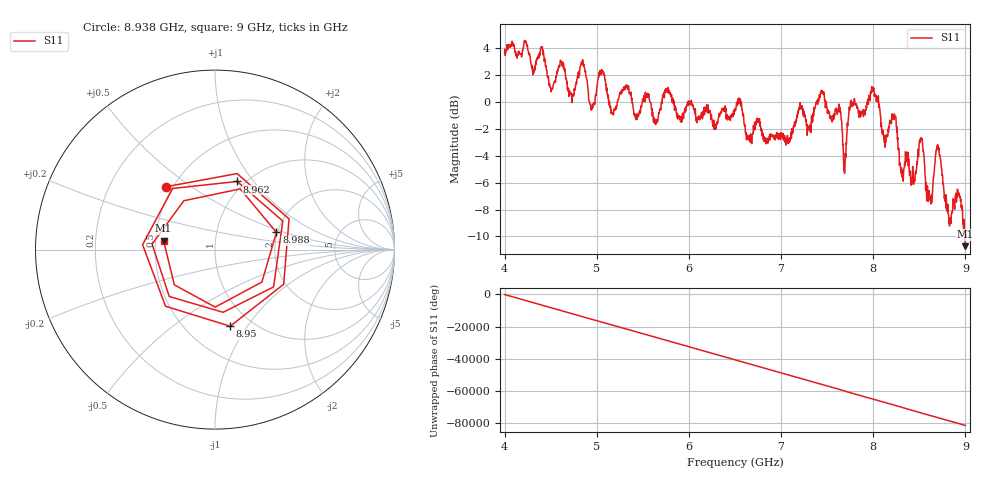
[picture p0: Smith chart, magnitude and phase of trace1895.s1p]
! Created with skrf 1.8.0 (http://scikit-rf.org).
# Hz S RI R 50.0
!freq ReS11 ImS11
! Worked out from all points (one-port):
!   1601 points, 4 GHz to 9 GHz, reference 50 ohm
!   lowest |S11| = -10.7 dB at 9 GHz (marker M1), VSWR 1.82, Z = 27.6 + j3.03 ohm
!   |S11| at or under -10 dB: 8.994592 GHz to end of sweep
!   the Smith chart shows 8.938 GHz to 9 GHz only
!   S11 on the Smith chart (normalised r, x): 8.938 GHz: 0.46, +0.40; 8.95 GHz: 0.79, -0.84; 8.962 GHz: 0.92, +0.83; 8.988 GHz: 1.98, +0.44; 9 GHz: 0.55, +0.06
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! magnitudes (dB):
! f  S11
! 4 GHz  3.7
! 4.403 GHz  4.0
! 4.506 GHz  0.9
! 4.625 GHz  2.9
! 4.722 GHz  0.5
! 4.844 GHz  3.0
! 4.938 GHz  -0.6
! 5.047 GHz  2.1
! 5.159 GHz  -0.7
! 5.25 GHz  0.7
! 5.875 GHz  -0.8
! 6.5 GHz  -0.5
! 7.125 GHz  -2.2
! 7.444 GHz  0.7
! 7.634 GHz  -0.7
! 7.691 GHz  -5.2
! 7.75 GHz  -0.4
! 8.003 GHz  1.0
! 8.375 GHz  -4.2
! 8.522 GHz  -2.8
! 8.616 GHz  -7.2
! 8.703 GHz  -3.2
! 8.822 GHz  -9.0
! 8.938 GHz  -7.1
! 8.95 GHz  -7.2
! 8.962 GHz  -8.0
! 8.988 GHz  -9.0
! 9 GHz  -10.7
